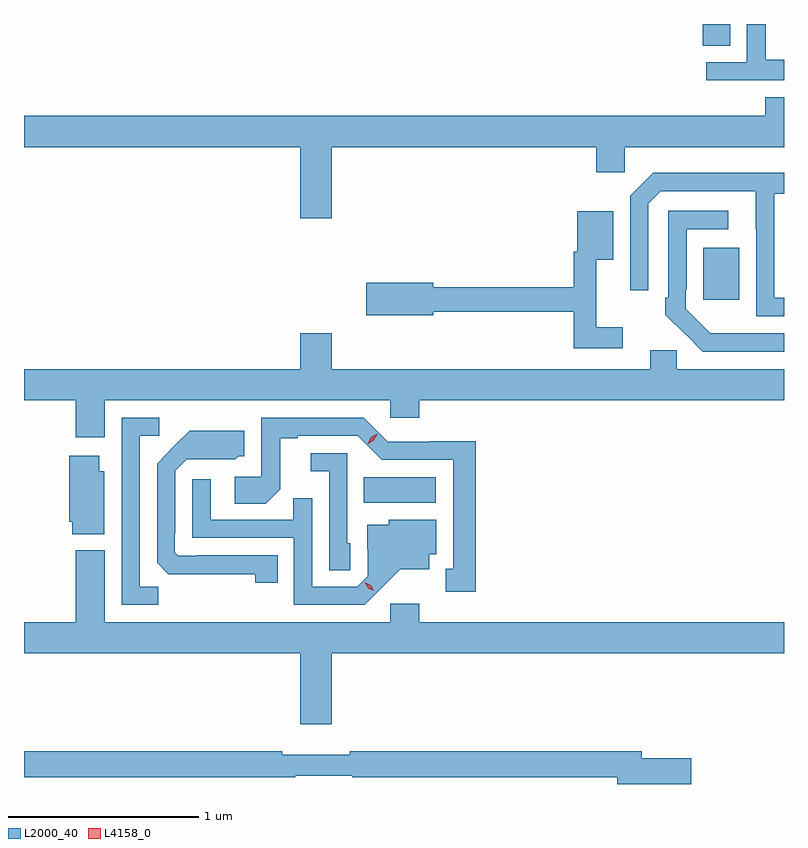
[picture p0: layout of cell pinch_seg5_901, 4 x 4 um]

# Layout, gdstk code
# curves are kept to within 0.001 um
import gdstk
lib = gdstk.Library(unit=1e-6, precision=1e-09)
def R(c, l, rs):  # rectangles x0, y0, x1, y1
    for r in rs: c.add(gdstk.rectangle(r[:2], r[2:], *l))
def P(c, l, *ps):  # polygons
    for p in ps: c.add(gdstk.Polygon(p, *l))
L2000_40 = (2000, 40)
L4158_0 = (4158, 0)

pinch_seg5_901 = lib.new_cell('pinch_seg5_901')
R(pinch_seg5_901, L2000_40, [(704.8,882.86,705.181,882.994), (706.589,883.929,706.777,884.203), (706.586,885.265,706.729,885.38)])
P(pinch_seg5_901, L2000_40, [(707.013,885.193),(706.917,885.193),(706.917,885.38),(706.818,885.38),(706.818,885.18),(706.605,885.18),(706.605,885.084),(707.013,885.084)],
  [(704.632,884.732),(706.025,884.732),(706.025,884.601),(706.176,884.601),(706.176,884.732),(707.013,884.732),(707.013,884.995),(706.913,884.995),(706.913,884.896),(703.013,884.896),(703.013,884.732),(704.468,884.732),(704.468,884.358),(704.632,884.358)],
  [(707.013,883.938),(706.962,883.938),(706.962,884.486),(707.013,884.486),(707.013,884.596),(706.324,884.596),(706.203,884.475),(706.203,883.98),(706.299,883.98),(706.299,884.433),(706.365,884.499),(706.865,884.499),(706.866,883.842),(707.013,883.842)],
  [(707.013,883.752),(706.626,883.753),(706.497,883.881),(706.497,883.981),(706.5,883.981),(706.5,884.301),(706.72,884.301),(706.72,884.397),(706.404,884.397),(706.404,883.939),(706.389,883.939),(706.389,883.851),(706.586,883.656),(707.013,883.656)],
  [(706.165,883.783),(706.025,883.783),(706.025,884.138),(706.114,884.138),(706.114,884.395),(705.926,884.395),(705.926,884.181),(705.907,884.181),(705.907,883.994),(705.166,883.994),(705.166,884.018),(704.814,884.018),(704.814,883.847),(705.166,883.847),(705.166,883.866),(705.907,883.866),(705.907,883.674),(706.165,883.674)],
  [(703.438,883.4),(704.94,883.4),(704.94,883.307),(705.092,883.307),(705.092,883.4),(707.013,883.4),(707.013,883.564),(706.449,883.564),(706.449,883.662),(706.31,883.662),(706.31,883.564),(704.632,883.564),(704.632,883.753),(704.468,883.753),(704.468,883.564),(703.013,883.564),(703.013,883.4),(703.286,883.4),(703.286,883.206),(703.438,883.206)],
  [(703.719,882.419),(703.623,882.419),(703.623,883.212),(703.726,883.212),(703.726,883.308),(703.527,883.308),(703.527,882.324),(703.719,882.324)],
  [(705.391,883.184),(705.15,883.184),(705.15,883.182),(704.928,883.182),(704.802,883.308),(704.262,883.308),(704.262,882.996),(704.121,882.996),(704.121,882.856),(704.285,882.856),(704.361,882.932),(704.361,883.2),(704.455,883.2),(704.455,883.212),(704.769,883.212),(704.895,883.086),(705.272,883.086),(705.272,882.513),(705.233,882.513),(705.233,882.393),(705.391,882.393)],
  [(704.348,882.585),(703.924,882.585),(703.924,882.582),(703.824,882.582),(703.806,882.6),(703.806,882.7),(703.809,882.7),(703.809,883.029),(703.869,883.089),(704.126,883.088),(704.142,883.104),(704.173,883.104),(704.173,883.24),(703.885,883.24),(703.713,883.066),(703.713,882.544),(703.772,882.485),(704.23,882.484),(704.23,882.438),(704.348,882.438)],
  [(704.73,882.648),(704.715,882.648),(704.715,883.122),(704.523,883.122),(704.523,883.025),(704.619,883.025),(704.619,882.505),(704.73,882.505)],
  [(703.435,883.026),(703.408,883.026),(703.408,883.108),(703.25,883.108),(703.25,882.759),(703.268,882.759),(703.268,882.695),(703.435,882.695)],
  [(704.89,882.407),(704.993,882.509),(705.145,882.509),(705.145,882.588),(705.184,882.588),(705.184,882.772),(704.934,882.772),(704.934,882.745),(704.819,882.745),(704.819,882.616),(704.823,882.616),(704.823,882.474),(704.766,882.417),(704.529,882.417),(704.529,882.884),(704.431,882.884),(704.431,882.771),(703.995,882.771),(703.995,882.985),(703.899,882.985),(703.899,882.675),(704.433,882.675),(704.433,882.324),(704.806,882.324)],
  [(704.632,882.068),(707.013,882.068),(707.013,882.232),(705.092,882.232),(705.092,882.328),(704.94,882.328),(704.94,882.232),(703.438,882.232),(703.438,882.61),(703.286,882.61),(703.286,882.232),(703.013,882.232),(703.013,882.068),(704.468,882.068),(704.468,881.694),(704.632,881.694)],
  [(706.525,881.516),(706.264,881.516),(706.264,881.552),(704.728,881.552),(704.728,881.533),(704.372,881.533),(704.372,881.552),(703.013,881.552),(703.013,881.416),(704.44,881.416),(704.44,881.424),(704.74,881.424),(704.74,881.416),(706.136,881.416),(706.136,881.38),(706.525,881.38)])
P(pinch_seg5_901, L4158_0, [(704.823,883.171),(704.823,883.171),(704.841,883.204),(704.873,883.223),(704.873,883.223),(704.873,883.222),(704.855,883.19),(704.824,883.171)],
  [(704.854,882.396),(704.824,882.411),(704.806,882.441),(704.806,882.441),(704.807,882.441),(704.837,882.426),(704.855,882.396),(704.855,882.396)])

lib.write_gds('pinch_seg5_901.gds')
